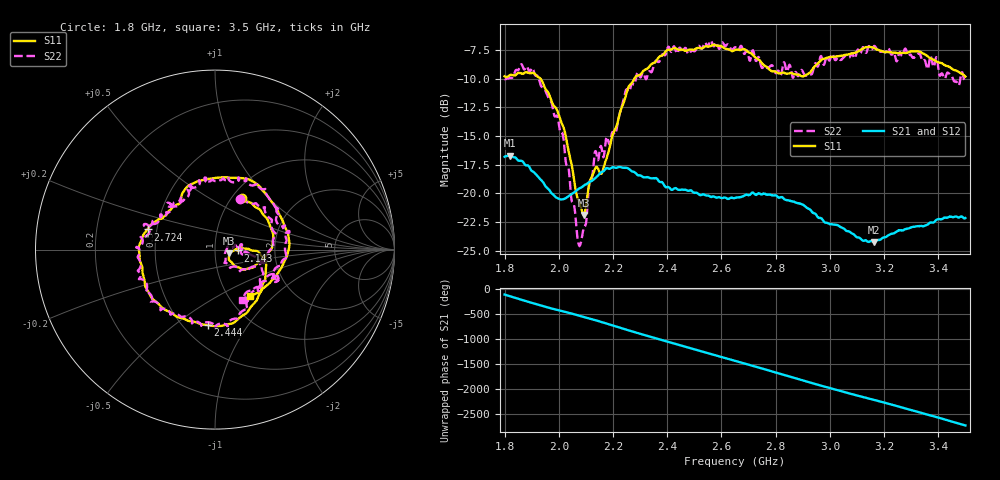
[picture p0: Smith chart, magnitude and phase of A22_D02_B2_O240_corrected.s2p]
! Created with skrf 1.9.0 (http://scikit-rf.org).
# Hz S RI R 50.0
!freq ReS11 ImS11 ReS21 ImS21 ReS12 ImS12 ReS22 ImS22
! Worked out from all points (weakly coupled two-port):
!   1601 points, 1.8 GHz to 3.5 GHz, reference 50 ohm
!   highest |S21| = -16.72 dB at 1.82 GHz (marker M1); lowest = -24.2 dB at 3.163 GHz (marker M2)
!   lowest |S11| = -21.9 dB at 2.092 GHz (marker M3), VSWR 1.18, Z = 58.4 - j2.51 ohm
!   |S11| at or under -10 dB: 1.933 GHz to 2.279 GHz (346.2 MHz wide, 16.4 % of centre)
!   |S22| runs from -24.6 to -6.7 dB; largest |S21 - S12| = 0.0025
!   S11 on the Smith chart (normalised r, x): 1.8 GHz: 1.12, +0.71; 2.143 GHz: 1.30, -0.01; 2.444 GHz: 0.65, -0.67; 2.724 GHz: 0.44, +0.12; 3.5 GHz: 1.25, -0.72
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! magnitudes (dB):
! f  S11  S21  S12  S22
! 1.8 GHz  -9.8  -16.8  -16.8  -10.0
! 1.82 GHz  -9.7  -16.7  -16.7  -9.9
! 1.902 GHz  -9.5  -18.1  -18.0  -9.1
! 1.969 GHz  -11.7  -19.8  -19.9  -11.9
! 2.013 GHz  -14.0  -20.5  -20.5  -14.7
! 2.071 GHz  -20.5  -19.6  -19.7  -24.2
! 2.084 GHz  -21.4  -19.5  -19.4  -24.0
! 2.092 GHz  -21.9  -19.3  -19.4  -23.0
! 2.129 GHz  -18.1  -18.8  -18.8  -17.1
! 2.143 GHz  -17.8  -18.5  -18.4  -17.1
! 2.163 GHz  -17.9  -18.1  -18.0  -16.8
! 2.26 GHz  -10.6  -17.9  -17.9  -11.1
! 2.367 GHz  -8.2  -18.9  -18.8  -8.5
! 2.444 GHz  -7.5  -19.7  -19.7  -7.4
! 2.65 GHz  -7.5  -20.4  -20.4  -7.3
! 2.724 GHz  -8.1  -20.1  -20.1  -8.3
! 2.81 GHz  -9.5  -20.4  -20.3  -9.3
! 2.934 GHz  -9.3  -21.6  -21.6  -9.6
! 3.163 GHz  -7.3  -24.2  -24.2  -7.2
! 3.217 GHz  -7.7  -23.6  -23.6  -7.4
! 3.33 GHz  -7.6  -22.8  -22.8  -7.8
! 3.5 GHz  -9.8  -22.1  -22.1  -10.0
